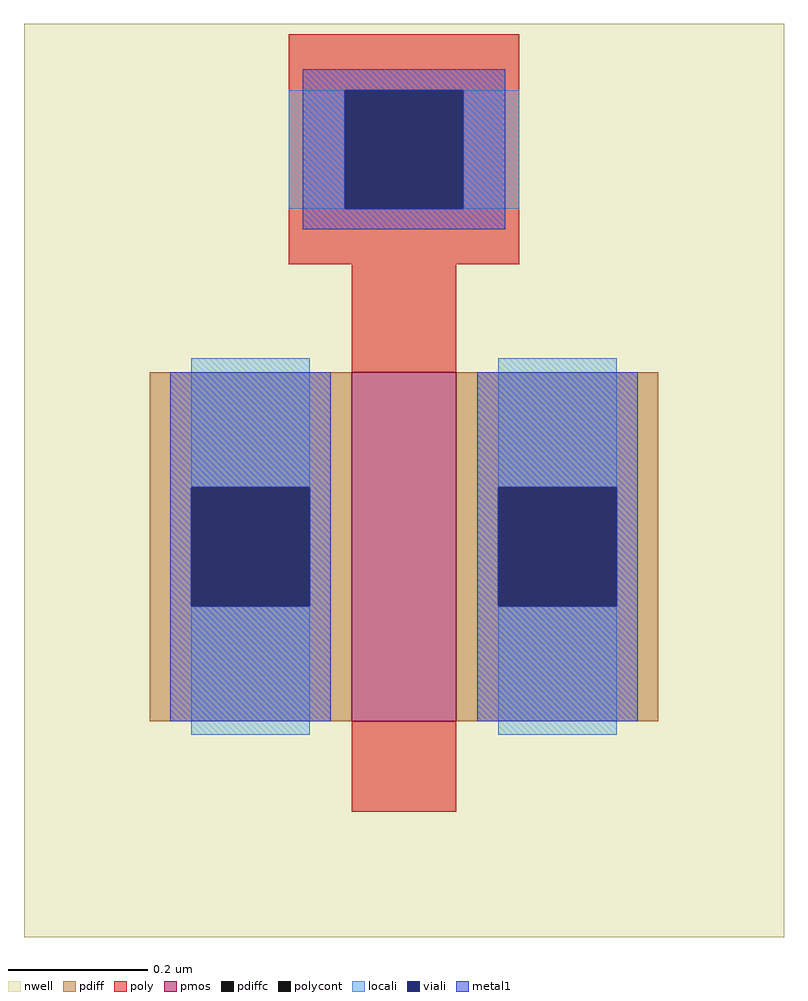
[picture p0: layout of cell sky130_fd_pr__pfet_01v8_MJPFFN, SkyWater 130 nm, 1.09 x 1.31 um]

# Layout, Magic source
magic
tech sky130A
magscale 1 2
<< nwell >>
rect -109 -148 109 114
<< pmos >>
rect -15 -86 15 14
<< pdiff >>
rect -73 -19 -15 14
rect -73 -53 -61 -19
rect -27 -53 -15 -19
rect -73 -86 -15 -53
rect 15 -19 73 14
rect 15 -53 27 -19
rect 61 -53 73 -19
rect 15 -86 73 -53
<< pdiffc >>
rect -61 -53 -27 -19
rect 27 -53 61 -19
<< poly >>
rect -33 95 33 111
rect -33 61 -17 95
rect 17 61 33 95
rect -33 45 33 61
rect -15 14 15 45
rect -15 -112 15 -86
<< polycont >>
rect -17 61 17 95
<< locali >>
rect -33 61 -17 95
rect 17 61 33 95
rect -61 -19 -27 18
rect -61 -90 -27 -53
rect 27 -19 61 18
rect 27 -90 61 -53
<< viali >>
rect -17 61 17 95
rect -61 -53 -27 -19
rect 27 -53 61 -19
<< metal1 >>
rect -29 95 29 101
rect -29 61 -17 95
rect 17 61 29 95
rect -29 55 29 61
rect -67 -19 -21 14
rect -67 -53 -61 -19
rect -27 -53 -21 -19
rect -67 -86 -21 -53
rect 21 -19 67 14
rect 21 -53 27 -19
rect 61 -53 67 -19
rect 21 -86 67 -53
<< end >>
